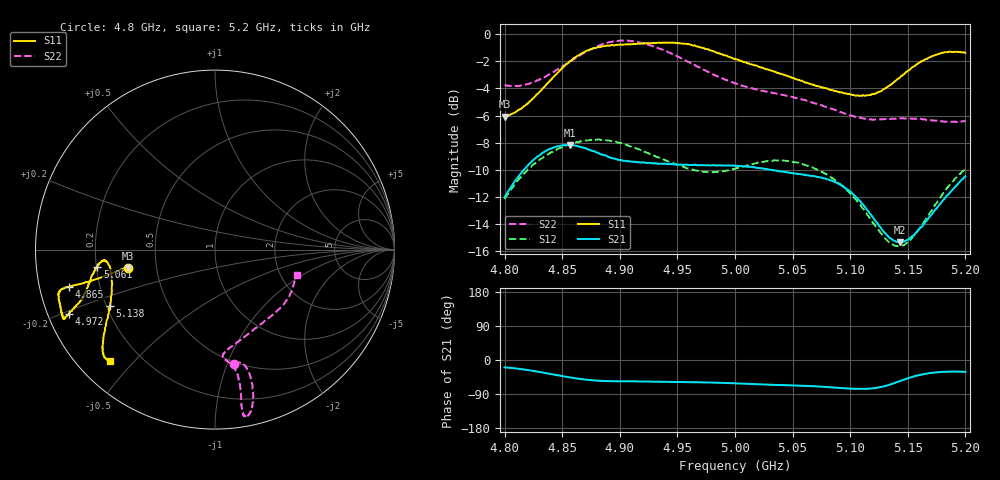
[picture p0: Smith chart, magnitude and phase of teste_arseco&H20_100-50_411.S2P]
! Network Analyzer HP8722D
! Hewlett-Packard
! Data name: Linha & Wilkinson
! Saver's name: Rodrigo Anjos
! Comments: Teste da utilização de aquisição
! continua pelo VNA HP8722D
! Time and date: 6/5/2025 15:59
!  Frequency  S11  S21  S12  S22
# HZ  S  MA R 50
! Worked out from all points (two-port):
!   401 points, 4.8 GHz to 5.2 GHz, reference 50 ohm
!   highest |S21| = -8.16 dB at 4.857 GHz (marker M1); lowest = -15.3 dB at 5.143 GHz (marker M2)
!   |S21| within 3 dB of the highest: 4.806 GHz to 5.093 GHz (286.6 MHz wide, 5.79 % of centre); 5.192027 GHz to end of sweep
!   lowest |S11| = -6.1 dB at 4.8 GHz (marker M3), VSWR 2.97, Z = 17 - j4.62 ohm
!   |S11| at or under -10 dB: nowhere
!   |S22| runs from -6.5 to -0.5 dB; largest |S21 - S12| = 0.62
!   S11 on the Smith chart (normalised r, x): 4.8 GHz: 0.34, -0.09; 4.865 GHz: 0.09, -0.12; 4.972 GHz: 0.06, -0.21; 5.061 GHz: 0.20, -0.07; 5.138 GHz: 0.21, -0.24; 5.2 GHz: 0.09, -0.43
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4.8e9  0.4959 -168.1  0.2512 -19.5  0.2476 -140.6  0.6484 -80.4
4.828e9  0.5994 -166.9  0.3532 -30.4  0.3378 -144.6  0.6744 -75.4
4.857e9  0.7949 -165.7  0.3908 -46.2  0.3932 -150.0  0.7921 -74.7
4.865e9  0.838 -165.7  0.3846 -49.6  0.4015 -151.5  0.8321 -75.2
4.867e9  0.8495 -165.7  0.3833 -50.6  0.4034 -151.8  0.8424 -75.3
4.879e9  0.8879 -165.4  0.3674 -54.0  0.4077 -153.8  0.8951 -76.5
4.9e9  0.913 -162.5  0.3438 -56.2  0.3972 -156.3  0.9429 -79.0
4.934e9  0.9295 -156.2  0.3331 -57.3  0.3514 -155.5  0.8836 -80.3
4.972e9  0.8883 -156.4  0.3297 -58.9  0.3117 -146.0  0.7431 -79.7
5e9  0.8096 -158.8  0.3271 -61.7  0.3196 -137.0  0.6571 -81.2
5.036e9  0.7212 -165.4  0.3141 -65.8  0.3428 -134.2  0.6028 -85.6
5.061e9  0.6624 -171.8  0.3033 -68.2  0.33 -136.1  0.5711 -84.0
5.067e9  0.6519 -172.9  0.3008 -68.9  0.3234 -136.6  0.5596 -82.6
5.086e9  0.6168 -174.5  0.286 -72.6  0.292 -138.2  0.5275 -75.4
5.103e9  0.5961 -171.4  0.2565 -76.0  0.251 -138.5  0.498 -65.4
5.116e9  0.5952 -165.4  0.2219 -75.8  0.2133 -135.5  0.4845 -55.8
5.134e9  0.6451 -154.0  0.1781 -65.3  0.1707 -120.9  0.4863 -43.3
5.138e9  0.6654 -151.7  0.1737 -61.4  0.1671 -115.7  0.4874 -41.0
5.143e9  0.6898 -149.1  0.1713 -56.0  0.1658 -109.1  0.4892 -38.0
5.154e9  0.7543 -144.4  0.1808 -44.6  0.1787 -95.2  0.488 -32.3
5.173e9  0.8344 -138.8  0.2234 -33.1  0.2323 -80.7  0.4807 -24.2
5.2e9  0.8517 -133.4  0.2996 -31.2  0.3183 -76.7  0.4772 -17.4
